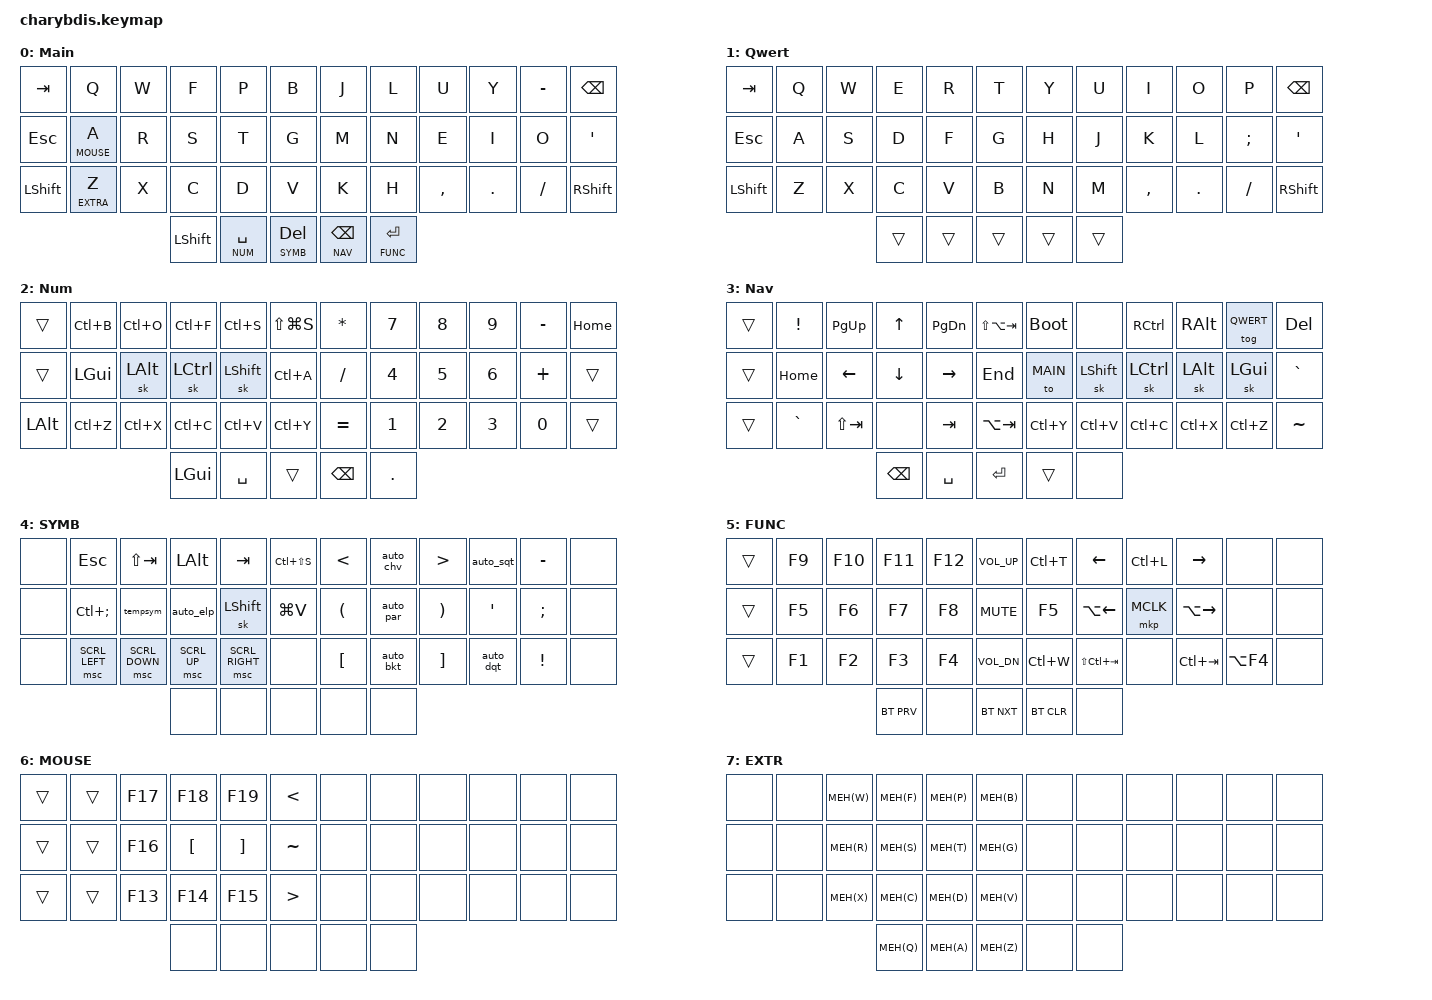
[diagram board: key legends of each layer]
#include <behaviors.dtsi>
#include <dt-bindings/zmk/mouse.h>
#include <dt-bindings/zmk/keys.h>
#include <dt-bindings/zmk/bt.h>
#include <dt-bindings/zmk/outputs.h>
#include <dt-bindings/zmk/keys.h>
#include <behaviors/mouse_keys.dtsi>

#define MAIN  0
#define QWERT 1
#define NUM   2
#define NAV   3
#define SYMB  4
#define FUNC  5
#define MOUSE 6
#define EXTRA 7

#define MEH(key) LA(LS(LC(key)))


&lt {
    tapping-term-ms = <150>;
    flavor = "balanced";
    quick-tap-ms = <80>;
    require-prior-idle-ms = <50>;
};

/ {
    behaviors {
        art_lt: behavior_art_lt {
            compatible = "zmk,behavior-hold-tap";
            #binding-cells = <2>;
            flavor = "balanced";
            tapping-term-ms = <500>;
            bindings = <&mo>, <&kp>;
        };
    };
};



/ {
    combos {
        compatible = "zmk,combos";

        combo_main {
            timeout-ms = <50>;
            bindings = <&to MAIN>;
            key-positions = <1 4>;
        };

        combo_alt {
            timeout-ms = <50>;
            bindings = <&kp LALT>;
            key-positions = <13 14>;
        };

        combo_ctrl {
            timeout-ms = <50>;
            bindings = <&kp LCTRL>;
            key-positions = <14 15>;
        };

        combo_shift {
            timeout-ms = <50>;
            bindings = <&kp LSHFT>;
            key-positions = <15 16>;
        };

        combo_lck {
            timeout-ms = <50>;
            bindings = <&mkp LCLK>;
            key-positions = <19 20>;
        };

        combo_DGSK {
            timeout-ms = <50>;
            bindings = <&mo MOUSE>;
            key-positions = <20 21>;
        };

        combo_rck {
            timeout-ms = <50>;
            bindings = <&mkp RCLK>;
            key-positions = <21 22>;
        };

        combo_change {
            timeout-ms = <100>;
            bindings = <&lan_chan>;
            key-positions = <25 26>;
        };


    };
};




/ {

    macros {

// language change and layer change at the same time
        lan_chan: lan_chan {
            compatible = "zmk,behavior-macro";
            label = "ZM_lan_chan";
            #binding-cells = <0>;
            bindings 
                = <&macro_press &tog QWERT>
                , <&macro_tap &kp RALT>
                , <&macro_release &tog QWERT>
                ;
        };

// automatically write two parentheses
        auto_par: auto_par {
            compatible = "zmk,behavior-macro";
            label = "ZM_auto_par";
            #binding-cells = <0>;
            bindings
                = <&macro_tap &kp LPAR &kp RPAR &kp LEFT>
                ;
        };

// automatically write two brackets
        auto_bkt: auto_bkt {
            compatible = "zmk,behavior-macro";
            label = "ZM_auto_bkt";
            #binding-cells = <0>;
            bindings
                = <&macro_tap &kp LBKT &kp RBKT &kp LEFT>
                ;
        };

// automatically write two chevrons
        auto_chv: auto_chv {
            compatible = "zmk,behavior-macro";
            label = "ZM_auto_chv";
            #binding-cells = <0>;
            bindings
                = <&macro_tap &kp LT &kp GT &kp LEFT>
                ;
        };

// automatically write two quotations
        auto_dqt: auto_dqt {
            compatible = "zmk,behavior-macro";
            label = "ZM_auto_dqt";
            #binding-cells = <0>;
            bindings
                = <&macro_press &kp LSHFT>
                , <&macro_tap &kp SQT &kp SQT>
                , <&macro_release &kp LSHFT>
                , <&macro_tap &kp LEFT>

                ;
        };

// automatically write two small quotations
        auto_sqt: auto_sqt {
            compatible = "zmk,behavior-macro";
            label = "ZM_auto_sqt";
            #binding-cells = <0>;
            bindings
                = <&macro_tap &kp SQT &kp SQT &kp LEFT>
                ;
        };

// automatically write temperature symbol
        tempsym: tempsym {
            compatible = "zmk,behavior-macro";
            label = "ZM_tempsymi";
            #binding-cells = <0>;
            bindings
                = <&macro_press &kp LALT>
                , <&macro_wait_time 5>
                , <&macro_tap &kp KP_N0 &kp KP_N1 &kp KP_N7 &kp KP_N6>
                , <&macro_release &kp LALT>

                ;
        };

// automatically write three periods
        auto_elp: auto_elp {
            compatible = "zmk,behavior-macro";
            label = "ZM_auto_elp";
            #binding-cells = <0>;
            bindings
                = <&macro_tap &kp DOT &kp DOT &kp DOT>
                ;
        };



//end of macro list
    };




    keymap {
        compatible = "zmk,keymap";

        Main {
            label = "Main";
            bindings = <
  &kp TAB  &kp Q  &kp W      &kp F      &kp P  &kp B           &kp J    &kp L      &kp U    &kp Y     &kp MINUS  &kp BSPC
  &kp ESC  &art_lt MOUSE A  &kp R      &kp S      &kp T  &kp G     &kp M    &kp N      &kp E    &kp I  &kp O    &kp APOS
&kp LSHFT  &art_lt EXTRA Z  &kp X      &kp C      &kp D  &kp V           &kp K    &kp H  &kp COMMA  &kp DOT  &kp FSLH  &kp RSHIFT
                     &kp LSHFT  &lt NUM SPACE  &lt SYMB DEL    &lt NAV BSPC  &lt FUNC RET
            >;
        };

        Qwert {
            label = "Qwert";
            bindings = <
  &kp TAB  &kp Q  &kp W      &kp E      &kp R  &kp T    &kp Y    &kp U      &kp I    &kp O     &kp P    &kp BSPC
  &kp ESC  &kp A  &kp S      &kp D      &kp F  &kp G    &kp H    &kp J      &kp K    &kp L  &kp SEMI    &kp APOS
&kp LSHFT  &kp Z  &kp X      &kp C      &kp V  &kp B    &kp N    &kp M  &kp COMMA  &kp DOT  &kp FSLH  &kp RSHIFT
                             &trans    &trans  &trans   &trans   &trans
            >;
        };

        Num {
            label = "Num";
            bindings = <
  &trans   &kp LC(B) &kp LC(O)   &kp LC(F) &kp LC(S) &kp LS(LG(S))        &kp ASTRK  &kp N7   &kp N8  &kp N9  &kp MINUS  &kp HOME
  &trans   &kp LGUI &sk LEFT_ALT &sk LCTRL &sk LSHFT &kp LC(A)            &kp FSLH   &kp N4   &kp N5  &kp N6  &kp PLUS    &trans
&kp LEFT_ALT &kp LC(Z) &kp LC(X)  &kp LC(C) &kp LC(V) &kp LC(Y)           &kp EQUAL  &kp N1   &kp N2  &kp N3  &kp N0    &trans
                               &kp LGUI  &kp SPACE    &trans              &kp BSPC  &kp DOT
            >;
        };

        Nav {
            label = "Nav";
            bindings = <
&trans    &kp EXCL   &kp PG_UP &kp UP   &kp PG_DN  &kp LS(LA(TAB))     &bootloader   &none   &kp RCTRL  &kp RALT  &tog QWERT    &kp DEL
&trans    &kp HOME   &kp LEFT  &kp DOWN &kp RIGHT  &kp END             &to MAIN  &sk LSHFT   &sk LCTRL  &sk LEFT_ALT &sk LGUI   &kp GRAVE
&trans    &kp GRAVE  &kp LS(TAB)  &none    &kp TAB    &kp LA(TAB)     &kp LC(Y) &kp LC(V)   &kp LC(C)   &kp LC(X)   &kp LC(Z)  &kp TILDE
                        &kp BSPC  &kp SPACE  &kp RET                   &trans    &none
            >;
        };


        SYMB {
            label = "SYMB";
            bindings = <
   &none    &kp ESC  &kp LS(TAB) &kp LALT  &kp TAB &kp LC(LS(S))             &kp LT    &auto_chv  &kp GT   &auto_sqt &kp MINUS  &none
   &none    &kp LC(SEMI)  &tempsym &auto_elp &sk LSHFT &kp LG(V)             &kp LPAR  &auto_par  &kp RPAR &kp SQT   &kp SEMI   &none
   &none &msc SCRL_LEFT &msc SCRL_DOWN &msc SCRL_UP &msc SCRL_RIGHT &none    &kp LBKT  &auto_bkt  &kp RBKT &auto_dqt &kp EXCL   &none
                                      &none      &none  &none                &none  &none
            >;
        };

        Func {
            label = "FUNC";
            bindings = <
&trans  &kp F9  &kp F10  &kp F11  &kp F12    &kp C_VOL_UP        &kp LC(T)  &kp LEFT         &kp LC(L) &kp RIGHT     &none      &none
&trans  &kp F5  &kp F6   &kp F7   &kp F8     &kp C_MUTE          &kp F5     &kp LA(LEFT)     &mkp MCLK &kp LA(RIGHT) &none      &none
&trans  &kp F1  &kp F2   &kp F3   &kp F4     &kp C_VOL_DN        &kp LC(W)  &kp LS(LC(TAB))  &none     &kp LC(TAB)   &kp LA(F4) &none
                               &bt BT_PRV  &none  &bt BT_NXT     &bt BT_CLR     &none
            >;
        };


        Mouse {
            label = "MOUSE";
            bindings = <
   &trans  &trans  &kp F17     &kp F18     &kp F19     &kp LT       &none &none &none &none &none &none
   &trans  &trans  &kp F16     &kp LBKT     &kp RBKT    &kp TILDE   &none &none &none &none &none &none
   &trans  &trans  &kp F13     &kp F14     &kp F15     &kp GT       &none &none &none &none &none &none
                              &none   &none   &none                 &none   &none
            >;
        };

        Extra {
            label = "EXTR";
            bindings = <
   &none   &none  &kp MEH(W)  &kp MEH(F)  &kp MEH(P)  &kp MEH(B)   &none &none &none &none &none &none
   &none   &none  &kp MEH(R)  &kp MEH(S)  &kp MEH(T)  &kp MEH(G)   &none &none &none &none &none &none
   &none   &none  &kp MEH(X)  &kp MEH(C)  &kp MEH(D)  &kp MEH(V)   &none &none &none &none &none &none
                              &kp MEH(Q)  &kp MEH(A)  &kp MEH(Z)   &none   &none
            >;
        };


    };
};
